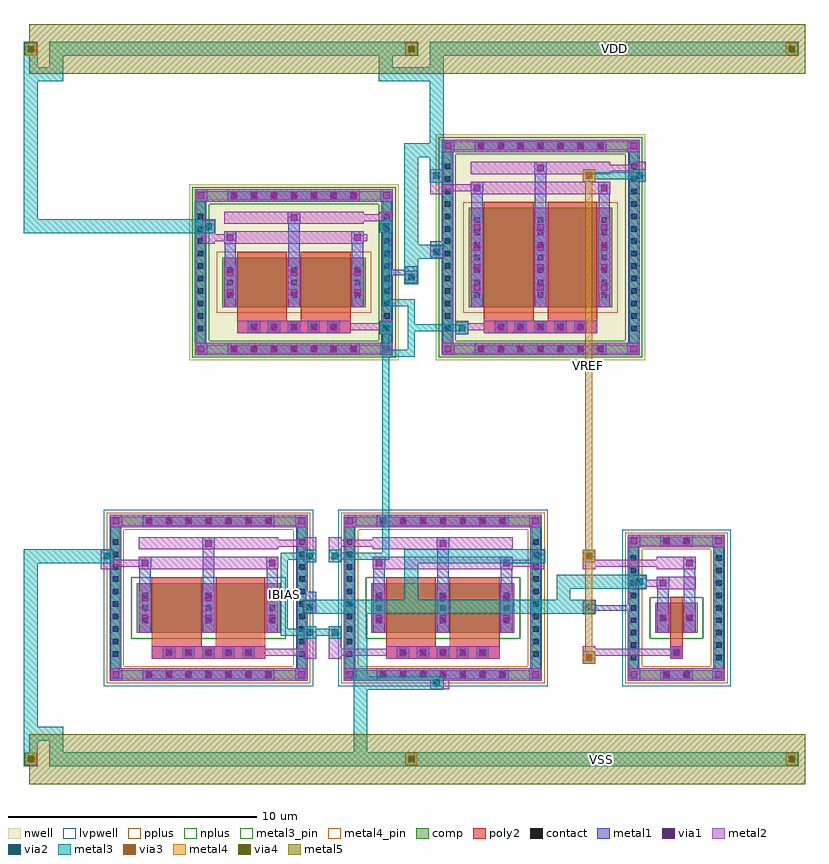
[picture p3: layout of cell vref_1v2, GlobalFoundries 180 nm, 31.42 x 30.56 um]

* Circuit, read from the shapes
.subckt vref_1v2 IBIAS VDD VREF VSS
XM1 IBIAS IBIAS VSS VSS nfet_03v3 w=2u l=2u m=2
XM2 n1 IBIAS VSS VSS nfet_03v3 w=2u l=2u m=2
XM3 VREF VREF VSS VSS nfet_03v3 w=1.2u l=0.5u
XM4 n1 n1 VDD VDD pfet_03v3 w=2u l=2u m=2
XM5 VREF n1 VDD VDD pfet_03v3 w=4u l=2u m=2
.ends

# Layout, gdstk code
import gdstk
lib = gdstk.Library(unit=1e-6, precision=1e-09)
def R(c, l, rs):  # rectangles x0, y0, x1, y1
    for r in rs: c.add(gdstk.rectangle(r[:2], r[2:], *l))
def A(c, l, x, y, w, h, nx, ny, dx, dy):  # array of equal rectangles
    R(c, l, [(x+i*dx, y+j*dy, x+i*dx+w, y+j*dy+h) for i in range(nx) for j in range(ny)])
def P(c, l, *ps):  # polygons
    for p in ps: c.add(gdstk.Polygon(p, *l))
nwell = (21, 0)
comp = (22, 0)
poly2 = (30, 0)
pplus = (31, 0)
nplus = (32, 0)
contact = (33, 0)
metal1 = (34, 0)
via1 = (35, 0)
metal2 = (36, 0)
via2 = (38, 0)
via3 = (40, 0)
via4 = (41, 0)
metal3 = (42, 0)
metal3_pin = (42, 10)
metal4 = (46, 0)
metal4_pin = (46, 10)
metal5 = (81, 0)
lvpwell = (204, 0)

vref_1v2 = lib.new_cell('vref_1v2')
R(vref_1v2, nwell, [(-9.17,13.09,-0.75,20.18), (0.75,13.09,9.17,22.18)])
A(vref_1v2, comp, -10.97, 0.28, 0.36, 0.36, 7, 2, 0.8, 6.17)
A(vref_1v2, comp, -1.55, 0.28, 0.36, 0.36, 7, 2, 0.8, 6.17)
A(vref_1v2, comp, 8.52, 0.965, 0.36, 0.36, 1, 9, 0, 0.5)
A(vref_1v2, comp, 11.96, 0.965, 0.36, 0.36, 1, 9, 0, 0.5)
A(vref_1v2, comp, -12.32, 1.115, 0.36, 0.36, 1, 10, 0, 0.5)
A(vref_1v2, comp, -4.82, 1.115, 0.36, 0.36, 1, 10, 0, 0.5)
A(vref_1v2, comp, -2.9, 1.115, 0.36, 0.36, 1, 10, 0, 0.5)
A(vref_1v2, comp, 4.6, 1.115, 0.36, 0.36, 1, 10, 0, 0.5)
A(vref_1v2, comp, -7.54, 13.37, 0.36, 0.36, 7, 2, 0.8, 6.17)
A(vref_1v2, comp, 2.38, 13.37, 0.36, 0.36, 7, 2, 0.8, 8.17)
A(vref_1v2, comp, -8.89, 14.205, 0.36, 0.36, 1, 10, 0, 0.5)
A(vref_1v2, comp, -1.39, 14.205, 0.36, 0.36, 1, 10, 0, 0.5)
A(vref_1v2, comp, 1.03, 14.205, 0.36, 0.36, 1, 14, 0, 0.5)
A(vref_1v2, comp, 8.53, 14.205, 0.36, 0.36, 1, 14, 0, 0.5)
R(vref_1v2, comp, [(-10.97,0.28,-5.81,0.64), (-1.55,0.28,3.61,0.64), (9.84,0.28,10.2,0.64), (9.84,0.28,11,0.64), (10.64,0.28,11,0.64), (8.52,0.965,8.88,5.325), (11.96,0.965,12.32,5.325), (-12.32,1.115,-11.96,5.975), (-4.82,1.115,-4.46,5.975), (-2.9,1.115,-2.54,5.975), (4.6,1.115,4.96,5.975), (-11.27,2.14,-5.51,4.14), (-1.85,2.14,3.91,4.14), (9.57,2.14,11.27,3.34), (9.84,5.65,10.2,6.01), (9.84,5.65,11,6.01), (10.64,5.65,11,6.01), (-10.97,6.45,-5.81,6.81), (-1.55,6.45,3.61,6.81), (-7.54,13.37,-2.38,13.73), (2.38,13.37,7.54,13.73), (-8.89,14.205,-8.53,19.065), (-1.39,14.205,-1.03,19.065), (1.03,14.205,1.39,21.065), (8.53,14.205,8.89,21.065), (-7.84,15.23,-2.08,17.23), (2.08,15.23,7.84,19.23), (-7.54,19.54,-2.38,19.9), (2.38,21.54,7.54,21.9)])
P(vref_1v2, comp, [(-12.32,0.28),(-12.32,0.64),(-4.82,0.64),(-4.82,6.45),(-11.96,6.45),(-11.96,0.64),(-12.32,0.64),(-12.32,6.81),(-4.46,6.81),(-4.46,0.28)],
  [(8.52,0.28),(8.52,0.64),(11.96,0.64),(11.96,5.65),(8.88,5.65),(8.88,0.64),(8.52,0.64),(8.52,6.01),(12.32,6.01),(12.32,0.28)],
  [(1.03,13.37),(1.03,13.73),(8.53,13.73),(8.53,21.54),(1.39,21.54),(1.39,13.73),(1.03,13.73),(1.03,21.9),(8.89,21.9),(8.89,13.37)],
  [(-8.89,13.37),(-8.89,13.73),(-1.39,13.73),(-1.39,19.54),(-8.53,19.54),(-8.53,13.73),(-8.89,13.73),(-8.89,19.9),(-1.03,19.9),(-1.03,13.37)],
  [(-2.9,0.28),(-2.9,0.64),(4.6,0.64),(4.6,6.45),(-2.54,6.45),(-2.54,0.64),(-2.9,0.64),(-2.9,6.81),(4.96,6.81),(4.96,0.28)])
A(vref_1v2, poly2, -10.17, 1.17, 0.36, 0.36, 5, 1, 0.8, 0)
A(vref_1v2, poly2, -0.75, 1.17, 0.36, 0.36, 5, 1, 0.8, 0)
A(vref_1v2, poly2, -6.74, 14.26, 0.36, 0.36, 5, 1, 0.8, 0)
A(vref_1v2, poly2, 3.18, 14.26, 0.36, 0.36, 5, 1, 0.8, 0)
R(vref_1v2, poly2, [(-10.67,1.1,-6.11,1.6), (-1.25,1.1,3.31,1.6), (10.17,1.1,10.67,1.6), (10.24,1.17,10.6,1.53), (-10.67,1.6,-8.67,1.9), (-8.11,1.6,-6.11,1.9), (-1.25,1.6,0.75,1.9), (1.31,1.6,3.31,1.9), (10.17,1.6,10.67,1.9), (-10.67,1.9,-8.67,4.38), (-8.11,1.9,-6.11,4.38), (-1.25,1.9,0.75,4.38), (1.31,1.9,3.31,4.38), (10.17,1.9,10.67,3.58), (-7.24,14.19,-2.68,14.69), (2.68,14.19,7.24,14.69), (-7.24,14.69,-5.24,14.99), (-4.68,14.69,-2.68,14.99), (2.68,14.69,4.68,14.99), (5.24,14.69,7.24,14.99), (-7.24,14.99,-5.24,17.47), (-4.68,14.99,-2.68,17.47), (2.68,14.99,4.68,19.47), (5.24,14.99,7.24,19.47)])
R(vref_1v2, pplus, [(-8.07,15,-1.85,17.46), (1.85,15,8.07,19.46)])
P(vref_1v2, pplus, [(-12.48,0.12),(-12.48,0.8),(-4.98,0.8),(-4.98,6.29),(-11.8,6.29),(-11.8,0.8),(-12.48,0.8),(-12.48,6.97),(-4.3,6.97),(-4.3,0.12)],
  [(8.36,0.12),(8.36,0.8),(11.8,0.8),(11.8,5.49),(9.04,5.49),(9.04,0.8),(8.36,0.8),(8.36,6.17),(12.48,6.17),(12.48,0.12)],
  [(-3.06,0.12),(-3.06,0.8),(4.44,0.8),(4.44,6.29),(-2.38,6.29),(-2.38,0.8),(-3.06,0.8),(-3.06,6.97),(5.12,6.97),(5.12,0.12)])
R(vref_1v2, nplus, [(-11.5,1.91,-5.28,4.37), (-2.08,1.91,4.14,4.37), (9.34,1.91,11.5,3.57)])
P(vref_1v2, nplus, [(0.87,13.21),(0.87,13.89),(8.37,13.89),(8.37,21.38),(1.55,21.38),(1.55,13.89),(0.87,13.89),(0.87,22.06),(9.05,22.06),(9.05,13.21)],
  [(-9.05,13.21),(-9.05,13.89),(-1.55,13.89),(-1.55,19.38),(-8.37,19.38),(-8.37,13.89),(-9.05,13.89),(-9.05,20.06),(-0.87,20.06),(-0.87,13.21)])
A(vref_1v2, contact, -10.9, 0.35, 0.22, 0.22, 7, 2, 0.8, 6.17)
A(vref_1v2, contact, -1.48, 0.35, 0.22, 0.22, 7, 2, 0.8, 6.17)
A(vref_1v2, contact, 8.59, 1.035, 0.22, 0.22, 1, 9, 0, 0.5)
A(vref_1v2, contact, 12.03, 1.035, 0.22, 0.22, 1, 9, 0, 0.5)
A(vref_1v2, contact, -12.25, 1.185, 0.22, 0.22, 1, 10, 0, 0.5)
A(vref_1v2, contact, -4.75, 1.185, 0.22, 0.22, 1, 10, 0, 0.5)
A(vref_1v2, contact, -2.83, 1.185, 0.22, 0.22, 1, 10, 0, 0.5)
A(vref_1v2, contact, 4.67, 1.185, 0.22, 0.22, 1, 10, 0, 0.5)
A(vref_1v2, contact, -10.1, 1.24, 0.22, 0.22, 5, 1, 0.8, 0)
A(vref_1v2, contact, -0.68, 1.24, 0.22, 0.22, 5, 1, 0.8, 0)
A(vref_1v2, contact, -11.06, 2.53, 0.22, 0.22, 3, 3, 2.56, 0.5)
A(vref_1v2, contact, -1.64, 2.53, 0.22, 0.22, 3, 3, 2.56, 0.5)
A(vref_1v2, contact, -7.47, 13.44, 0.22, 0.22, 7, 2, 0.8, 6.17)
A(vref_1v2, contact, 2.45, 13.44, 0.22, 0.22, 7, 2, 0.8, 8.17)
A(vref_1v2, contact, -8.82, 14.275, 0.22, 0.22, 1, 10, 0, 0.5)
A(vref_1v2, contact, -1.32, 14.275, 0.22, 0.22, 1, 10, 0, 0.5)
A(vref_1v2, contact, 1.1, 14.275, 0.22, 0.22, 1, 14, 0, 0.5)
A(vref_1v2, contact, 8.6, 14.275, 0.22, 0.22, 1, 14, 0, 0.5)
A(vref_1v2, contact, -6.67, 14.33, 0.22, 0.22, 5, 1, 0.8, 0)
A(vref_1v2, contact, 3.25, 14.33, 0.22, 0.22, 5, 1, 0.8, 0)
A(vref_1v2, contact, -7.63, 15.62, 0.22, 0.22, 3, 3, 2.56, 0.5)
A(vref_1v2, contact, 2.29, 15.62, 0.22, 0.22, 3, 7, 2.56, 0.5)
R(vref_1v2, contact, [(9.91,0.35,10.13,0.57), (10.71,0.35,10.93,0.57), (10.31,1.24,10.53,1.46), (9.78,2.63,10,2.85), (10.84,2.63,11.06,2.85), (9.91,5.72,10.13,5.94), (10.71,5.72,10.93,5.94)])
A(vref_1v2, metal1, -11.04, 0.21, 0.5, 0.5, 7, 2, 0.8, 6.17)
A(vref_1v2, metal1, -1.62, 0.21, 0.5, 0.5, 7, 2, 0.8, 6.17)
A(vref_1v2, metal1, 8.47, 0.915, 0.46, 0.46, 1, 9, 0, 0.5)
A(vref_1v2, metal1, 11.91, 0.915, 0.46, 0.46, 1, 9, 0, 0.5)
A(vref_1v2, metal1, -12.37, 1.065, 0.46, 0.46, 1, 10, 0, 0.5)
A(vref_1v2, metal1, -4.87, 1.065, 0.46, 0.46, 1, 10, 0, 0.5)
A(vref_1v2, metal1, -2.95, 1.065, 0.46, 0.46, 1, 10, 0, 0.5)
A(vref_1v2, metal1, 4.55, 1.065, 0.46, 0.46, 1, 10, 0, 0.5)
A(vref_1v2, metal1, -10.24, 1.1, 0.5, 0.5, 5, 1, 0.8, 0)
A(vref_1v2, metal1, -0.82, 1.1, 0.5, 0.5, 5, 1, 0.8, 0)
A(vref_1v2, metal1, -11.18, 2.14, 0.46, 2, 3, 1, 2.56, 0)
A(vref_1v2, metal1, -1.76, 2.14, 0.46, 2, 3, 1, 2.56, 0)
A(vref_1v2, metal1, -11.18, 2.41, 0.46, 0.46, 3, 3, 2.56, 0.5)
A(vref_1v2, metal1, -1.76, 2.41, 0.46, 0.46, 3, 3, 2.56, 0.5)
A(vref_1v2, metal1, -11.2, 2.49, 0.5, 0.5, 3, 2, 2.56, 0.8)
A(vref_1v2, metal1, -11.2, 2.49, 0.5, 1.3, 3, 1, 2.56, 0)
A(vref_1v2, metal1, -1.78, 2.49, 0.5, 0.5, 3, 2, 2.56, 0.8)
A(vref_1v2, metal1, -1.78, 2.49, 0.5, 1.3, 3, 1, 2.56, 0)
A(vref_1v2, metal1, -7.61, 13.3, 0.5, 0.5, 7, 2, 0.8, 6.17)
A(vref_1v2, metal1, 2.31, 13.3, 0.5, 0.5, 7, 2, 0.8, 8.17)
A(vref_1v2, metal1, -8.94, 14.155, 0.46, 0.46, 1, 10, 0, 0.5)
A(vref_1v2, metal1, -1.44, 14.155, 0.46, 0.46, 1, 10, 0, 0.5)
A(vref_1v2, metal1, 0.98, 14.155, 0.46, 0.46, 1, 14, 0, 0.5)
A(vref_1v2, metal1, 8.48, 14.155, 0.46, 0.46, 1, 14, 0, 0.5)
A(vref_1v2, metal1, -6.81, 14.19, 0.5, 0.5, 5, 1, 0.8, 0)
A(vref_1v2, metal1, 3.11, 14.19, 0.5, 0.5, 5, 1, 0.8, 0)
A(vref_1v2, metal1, -7.75, 15.23, 0.46, 2, 3, 1, 2.56, 0)
A(vref_1v2, metal1, 2.17, 15.23, 0.46, 4, 3, 1, 2.56, 0)
A(vref_1v2, metal1, -7.75, 15.5, 0.46, 0.46, 3, 3, 2.56, 0.5)
A(vref_1v2, metal1, 2.17, 15.5, 0.46, 0.46, 3, 7, 2.56, 0.5)
A(vref_1v2, metal1, -7.77, 15.58, 0.5, 0.5, 3, 2, 2.56, 0.8)
A(vref_1v2, metal1, -7.77, 15.58, 0.5, 1.3, 3, 1, 2.56, 0)
A(vref_1v2, metal1, 2.15, 15.78, 0.5, 0.5, 3, 4, 2.56, 0.8)
A(vref_1v2, metal1, 2.15, 15.78, 0.5, 2.9, 3, 1, 2.56, 0)
R(vref_1v2, metal1, [(-12.37,0.21,-11.87,0.71), (-12.37,0.21,-11.87,0.71), (-12.37,0.21,-11.91,0.64), (-11.04,0.21,-5.74,0.71), (-4.91,0.21,-4.41,0.71), (-4.91,0.21,-4.41,0.71), (-4.87,0.21,-4.41,0.64), (-2.95,0.21,-2.45,0.71), (-2.95,0.21,-2.45,0.71), (-2.95,0.21,-2.49,0.64), (-1.62,0.21,3.68,0.71), (4.51,0.21,5.01,0.71), (4.51,0.21,5.01,0.71), (4.55,0.21,5.01,0.64), (8.47,0.21,8.97,0.71), (8.47,0.21,8.97,0.71), (8.47,0.21,8.93,0.64), (9.77,0.21,10.27,0.71), (9.77,0.21,11.07,0.71), (10.57,0.21,11.07,0.71), (11.87,0.21,12.37,0.71), (11.87,0.21,12.37,0.71), (11.91,0.21,12.37,0.64), (-12.37,0.64,-11.91,6.45), (-4.87,0.64,-4.41,6.45), (-2.95,0.64,-2.49,6.45), (4.55,0.64,5.01,6.45), (8.47,0.64,8.93,5.65), (11.91,0.64,12.37,5.65), (10.17,1.1,10.67,1.6), (9.66,2.14,10.12,3.34), (10.72,2.14,11.18,3.34), (9.64,2.49,10.14,2.99), (9.64,2.49,10.14,2.99), (10.7,2.49,11.2,2.99), (10.7,2.49,11.2,2.99), (9.66,2.51,10.12,2.97), (10.72,2.51,11.18,2.97), (8.47,2.875,8.585,3.025), (6.65,2.89,7.15,3.43), (-4.57,2.93,-4.07,3.43), (-4.57,2.93,-4.07,3.79), (6.65,2.93,7.15,3.43), (6.785,3.025,8.585,3.255), (8.47,3.255,8.585,3.415), (9.66,3.34,10.12,4.39), (10.72,3.34,11.18,5.19), (-4.525,3.425,-4.205,3.655), (-4.57,3.79,-4.41,4.065), (9.64,3.89,10.14,4.39), (-11.18,4.14,-10.72,5.19), (-8.62,4.14,-8.16,5.99), (-6.06,4.14,-5.6,5.19), (-1.76,4.14,-1.3,5.19), (0.8,4.14,1.26,5.99), (3.36,4.14,3.82,5.19), (-11.2,4.69,-10.7,5.19), (-6.08,4.69,-5.58,5.19), (-1.78,4.69,-1.28,5.19), (3.34,4.69,3.84,5.19), (10.7,4.69,11.2,5.19), (-8.64,5.49,-8.14,5.99), (0.78,5.49,1.28,5.99), (8.47,5.58,8.97,6.08), (8.47,5.58,8.97,6.08), (9.77,5.58,10.27,6.08), (9.77,5.58,11.07,6.08), (10.57,5.58,11.07,6.08), (11.87,5.58,12.37,6.08), (11.87,5.58,12.37,6.08), (8.47,5.65,8.93,6.08), (11.91,5.65,12.37,6.08), (-12.37,6.38,-11.87,6.88), (-12.37,6.38,-11.87,6.88), (-11.04,6.38,-5.74,6.88), (-4.91,6.38,-4.41,6.88), (-4.91,6.38,-4.41,6.88), (-2.95,6.38,-2.45,6.88), (-2.95,6.38,-2.45,6.88), (-1.62,6.38,3.68,6.88), (4.51,6.38,5.01,6.88), (4.51,6.38,5.01,6.88), (-12.37,6.45,-11.91,6.88), (-4.87,6.45,-4.41,6.88), (-2.95,6.45,-2.49,6.88), (4.55,6.45,5.01,6.88), (-8.94,13.3,-8.44,13.8), (-8.94,13.3,-8.44,13.8), (-8.94,13.3,-8.48,13.73), (-7.61,13.3,-2.31,13.8), (-1.48,13.3,-0.98,13.8), (-1.48,13.3,-0.98,13.8), (-1.44,13.3,-0.98,13.73), (0.98,13.3,1.48,13.8), (0.98,13.3,1.48,13.8), (0.98,13.3,1.44,13.73), (2.31,13.3,7.61,13.8), (8.44,13.3,8.94,13.8), (8.44,13.3,8.94,13.8), (8.48,13.3,8.94,13.73), (-8.94,13.73,-8.48,19.54), (-1.44,13.73,-0.98,19.54), (0.98,13.73,1.44,21.54), (8.48,13.73,8.94,21.54), (-0.49,16.19,0.01,16.88), (-0.49,16.19,0.01,16.69), (-1.095,16.515,-0.125,16.745), (0.98,17.115,1.03,17.21), (0.53,17.21,1.03,17.71), (0.53,17.21,1.03,17.88), (-7.75,17.23,-7.29,18.28), (-5.19,17.23,-4.73,19.08), (-2.63,17.23,-2.17,18.28), (0.665,17.515,1.095,17.745), (-7.77,17.78,-7.27,18.28), (-2.65,17.78,-2.15,18.28), (0.98,17.88,1.03,18.155), (-5.21,18.58,-4.71,19.08), (2.17,19.23,2.63,20.28), (4.73,19.23,5.19,21.08), (7.29,19.23,7.75,20.28), (-8.94,19.47,-8.44,19.97), (-8.94,19.47,-8.44,19.97), (-7.61,19.47,-2.31,19.97), (-1.48,19.47,-0.98,19.97), (-1.48,19.47,-0.98,19.97), (-8.94,19.54,-8.48,19.97), (-1.44,19.54,-0.98,19.97), (2.15,19.78,2.65,20.28), (7.27,19.78,7.77,20.28), (4.71,20.58,5.21,21.08), (0.98,21.47,1.48,21.97), (0.98,21.47,1.48,21.97), (2.31,21.47,7.61,21.97), (8.44,21.47,8.94,21.97), (8.44,21.47,8.94,21.97), (0.98,21.54,1.44,21.97), (8.48,21.54,8.94,21.97)])
A(vref_1v2, via1, -10.92, 0.33, 0.26, 0.26, 7, 2, 0.8, 6.17)
A(vref_1v2, via1, -1.5, 0.33, 0.26, 0.26, 7, 2, 0.8, 6.17)
A(vref_1v2, via1, -10.12, 1.22, 0.26, 0.26, 5, 1, 0.8, 0)
A(vref_1v2, via1, -0.7, 1.22, 0.26, 0.26, 5, 1, 0.8, 0)
A(vref_1v2, via1, -11.08, 2.61, 0.26, 0.26, 3, 2, 2.56, 0.8)
A(vref_1v2, via1, -1.66, 2.61, 0.26, 0.26, 3, 2, 2.56, 0.8)
A(vref_1v2, via1, -7.49, 13.42, 0.26, 0.26, 7, 2, 0.8, 6.17)
A(vref_1v2, via1, 2.43, 13.42, 0.26, 0.26, 7, 2, 0.8, 8.17)
A(vref_1v2, via1, -6.69, 14.31, 0.26, 0.26, 5, 1, 0.8, 0)
A(vref_1v2, via1, 3.23, 14.31, 0.26, 0.26, 5, 1, 0.8, 0)
A(vref_1v2, via1, -7.65, 15.7, 0.26, 0.26, 3, 2, 2.56, 0.8)
A(vref_1v2, via1, 2.27, 15.9, 0.26, 0.26, 3, 4, 2.56, 0.8)
R(vref_1v2, via1, [(-12.25,0.33,-11.99,0.59), (-4.79,0.33,-4.53,0.59), (-2.83,0.33,-2.57,0.59), (4.63,0.33,4.89,0.59), (8.59,0.33,8.85,0.59), (9.89,0.33,10.15,0.59), (10.69,0.33,10.95,0.59), (11.99,0.33,12.25,0.59), (10.29,1.22,10.55,1.48), (9.76,2.61,10.02,2.87), (10.82,2.61,11.08,2.87), (-4.45,3.05,-4.19,3.31), (6.77,3.05,7.03,3.31), (9.76,4.01,10.02,4.27), (-11.08,4.81,-10.82,5.07), (-5.96,4.81,-5.7,5.07), (-1.66,4.81,-1.4,5.07), (3.46,4.81,3.72,5.07), (10.82,4.81,11.08,5.07), (-8.52,5.61,-8.26,5.87), (0.9,5.61,1.16,5.87), (8.59,5.7,8.85,5.96), (9.89,5.7,10.15,5.96), (10.69,5.7,10.95,5.96), (11.99,5.7,12.25,5.96), (-12.25,6.5,-11.99,6.76), (-4.79,6.5,-4.53,6.76), (-2.83,6.5,-2.57,6.76), (4.63,6.5,4.89,6.76), (-8.82,13.42,-8.56,13.68), (-1.36,13.42,-1.1,13.68), (1.1,13.42,1.36,13.68), (8.56,13.42,8.82,13.68), (-0.37,16.31,-0.11,16.57), (0.65,17.33,0.91,17.59), (-7.65,17.9,-7.39,18.16), (-2.53,17.9,-2.27,18.16), (-5.09,18.7,-4.83,18.96), (-8.82,19.59,-8.56,19.85), (-1.36,19.59,-1.1,19.85), (2.27,19.9,2.53,20.16), (7.39,19.9,7.65,20.16), (4.83,20.7,5.09,20.96), (1.1,21.59,1.36,21.85), (8.56,21.59,8.82,21.85)])
A(vref_1v2, metal2, -11.04, 0.21, 0.5, 0.5, 7, 2, 0.8, 6.17)
A(vref_1v2, metal2, -1.62, 0.21, 0.5, 0.5, 7, 2, 0.8, 6.17)
A(vref_1v2, metal2, 6.65, 0.89, 0.5, 0.5, 1, 3, 0, 2.04)
A(vref_1v2, metal2, -10.24, 1.1, 0.5, 0.5, 5, 1, 0.8, 0)
A(vref_1v2, metal2, -0.82, 1.1, 0.5, 0.5, 5, 1, 0.8, 0)
A(vref_1v2, metal2, -11.2, 2.14, 0.5, 2, 3, 1, 2.56, 0)
A(vref_1v2, metal2, -1.78, 2.14, 0.5, 2, 3, 1, 2.56, 0)
A(vref_1v2, metal2, -11.2, 2.49, 0.5, 0.5, 3, 2, 2.56, 0.8)
A(vref_1v2, metal2, -1.78, 2.49, 0.5, 0.5, 3, 2, 2.56, 0.8)
A(vref_1v2, metal2, -7.61, 13.3, 0.5, 0.5, 7, 2, 0.8, 6.17)
A(vref_1v2, metal2, 2.31, 13.3, 0.5, 0.5, 7, 2, 0.8, 8.17)
A(vref_1v2, metal2, -6.81, 14.19, 0.5, 0.5, 5, 1, 0.8, 0)
A(vref_1v2, metal2, 3.11, 14.19, 0.5, 0.5, 5, 1, 0.8, 0)
A(vref_1v2, metal2, -7.77, 15.23, 0.5, 2, 3, 1, 2.56, 0)
A(vref_1v2, metal2, 2.15, 15.23, 0.5, 4, 3, 1, 2.56, 0)
A(vref_1v2, metal2, -7.77, 15.58, 0.5, 0.5, 3, 2, 2.56, 0.8)
A(vref_1v2, metal2, 2.15, 15.78, 0.5, 0.5, 3, 4, 2.56, 0.8)
R(vref_1v2, metal2, [(0.53,-0.13,1.03,0.37), (0.53,-0.13,1.28,0.37), (0.89,-0.02,1.17,0.35), (-12.37,0.21,-11.87,0.71), (-12.37,0.21,-11.87,0.71), (-12.37,0.21,-11.96,0.71), (-11.96,0.21,-4.82,0.71), (-4.91,0.21,-4.41,0.71), (-4.91,0.21,-4.41,0.71), (-4.82,0.21,-4.41,0.71), (-2.95,0.21,-2.45,0.71), (-2.95,0.21,-2.45,0.71), (-2.95,0.21,-2.54,0.71), (-2.54,0.21,4.6,0.71), (0.48,0.21,0.53,0.37), (4.51,0.21,5.01,0.71), (4.51,0.21,5.01,0.71), (4.6,0.21,5.01,0.71), (8.47,0.21,8.97,0.71), (8.47,0.21,8.97,0.71), (8.47,0.21,8.88,0.71), (8.88,0.21,11.96,0.71), (9.77,0.21,10.27,0.71), (10.57,0.21,11.07,0.71), (11.87,0.21,12.37,0.71), (11.87,0.21,12.37,0.71), (11.96,0.21,12.37,0.71), (6.65,0.89,7.15,1.6), (-10.67,1.1,-6.11,1.6), (-4.57,1.1,-4.07,2.41), (-3.55,1.1,-3.05,2.41), (-1.25,1.1,3.31,1.6), (10.17,1.1,10.67,1.6), (10.17,1.1,10.67,1.6), (-6.54,1.21,-6.25,1.49), (-6.25,1.21,-4.18,1.49), (-3.44,1.21,-1.11,1.49), (-1.11,1.21,-0.82,1.49), (6.76,1.21,10.31,1.49), (-4.57,1.91,-4.07,2.41), (-3.55,1.91,-3.05,2.41), (9.64,2.14,10.14,3.34), (10.7,2.14,11.2,3.34), (9.64,2.49,10.14,2.99), (10.7,2.49,11.2,2.99), (-4.57,2.93,-4.07,3.43), (8.69,3.89,9.19,4.45), (9.64,3.89,10.14,4.39), (9.64,3.89,11.2,4.39), (8.69,3.95,9.19,4.45), (8.8,4,9.78,4.28), (-12.73,4.69,-12.23,5.47), (-11.2,4.69,-10.7,5.19), (-11.2,4.69,-5.58,5.19), (-6.08,4.69,-5.58,5.19), (-1.78,4.69,-1.28,5.19), (-1.78,4.69,3.84,5.19), (3.34,4.69,3.84,5.19), (4.61,4.69,5.11,5.47), (6.65,4.69,7.15,5.47), (9.64,4.69,11.2,5.19), (10.7,4.69,11.2,5.19), (-12.62,4.8,-11.06,5.08), (3.7,4.8,5,5.08), (6.76,4.8,9.78,5.08), (-12.73,4.97,-12.23,5.47), (-4.57,4.97,-4.07,5.47), (-4.57,4.97,-4.07,5.99), (-3.55,4.97,-3.05,5.47), (-3.55,4.97,-3.05,5.99), (4.61,4.97,5.11,5.47), (-11.2,5.49,-5.58,5.99), (-8.64,5.49,-8.14,5.99), (-1.78,5.49,3.84,5.99), (0.78,5.49,1.28,5.99), (8.47,5.58,8.97,6.08), (8.47,5.58,8.97,6.08), (8.47,5.58,8.88,6.08), (8.88,5.58,11.96,6.08), (9.77,5.58,10.27,6.08), (10.57,5.58,11.07,6.08), (11.87,5.58,12.37,6.08), (11.87,5.58,12.37,6.08), (11.96,5.58,12.37,6.08), (-5.72,5.6,-4.18,5.88), (-3.44,5.6,-1.64,5.88), (-12.37,6.38,-11.87,6.88), (-12.37,6.38,-11.87,6.88), (-12.37,6.38,-11.96,6.88), (-11.96,6.38,-4.82,6.88), (-4.91,6.38,-4.41,6.88), (-4.91,6.38,-4.41,6.88), (-4.82,6.38,-4.41,6.88), (-2.95,6.38,-2.45,6.88), (-2.95,6.38,-2.45,6.88), (-2.95,6.38,-2.54,6.88), (-2.54,6.38,4.6,6.88), (4.51,6.38,5.01,6.88), (4.51,6.38,5.01,6.88), (4.6,6.38,5.01,6.88), (-8.94,13.3,-8.44,13.8), (-8.94,13.3,-8.44,13.8), (-8.94,13.3,-8.53,13.8), (-8.53,13.3,-1.39,13.8), (-1.48,13.3,-0.98,13.8), (-1.48,13.3,-0.98,13.8), (-1.39,13.3,-0.98,13.8), (0.98,13.3,1.48,13.8), (0.98,13.3,1.48,13.8), (0.98,13.3,1.39,13.8), (1.39,13.3,8.53,13.8), (8.44,13.3,8.94,13.8), (8.44,13.3,8.94,13.8), (8.53,13.3,8.94,13.8), (-1.51,14.15,-1.01,14.65), (-1.51,14.15,-1.01,14.69), (1.55,14.15,2.05,14.65), (1.55,14.15,2.05,14.69), (-7.24,14.19,-2.68,14.69), (2.68,14.19,7.24,14.69), (-3.11,14.3,-2.82,14.58), (-2.82,14.3,-1.12,14.58), (1.66,14.3,2.82,14.58), (2.82,14.3,3.11,14.58), (-0.49,16.19,0.01,16.69), (0.53,17.21,1.03,17.71), (-8.65,17.78,-8.15,18.73), (-7.77,17.78,-7.27,18.28), (-7.77,17.78,-2.15,18.28), (-2.65,17.78,-2.15,18.28), (-8.54,17.89,-2.01,18.17), (-8.65,18.23,-8.15,18.73), (-1.51,18.23,-1.01,18.73), (-1.51,18.23,-1.01,19.08), (-7.77,18.58,-2.15,19.08), (-5.21,18.58,-4.71,19.08), (-2.29,18.69,-1.12,18.97), (-8.94,19.47,-8.44,19.97), (-8.94,19.47,-8.44,19.97), (-8.94,19.47,-8.53,19.97), (-8.53,19.47,-1.39,19.97), (-1.48,19.47,-0.98,19.97), (-1.48,19.47,-0.98,19.97), (-1.39,19.47,-0.98,19.97), (0.53,19.78,1.03,20.77), (2.15,19.78,2.65,20.28), (2.15,19.78,7.77,20.28), (7.27,19.78,7.77,20.28), (0.64,19.89,2.29,20.17), (0.53,20.27,1.03,20.77), (8.69,20.27,9.19,20.77), (8.69,20.27,9.19,21.08), (2.15,20.58,7.77,21.08), (4.71,20.58,5.21,21.08), (7.63,20.69,9.08,20.97), (0.98,21.47,1.48,21.97), (0.98,21.47,1.48,21.97), (0.98,21.47,1.39,21.97), (1.39,21.47,8.53,21.97), (8.44,21.47,8.94,21.97), (8.44,21.47,8.94,21.97), (8.53,21.47,8.94,21.97)])
A(vref_1v2, via2, 6.77, 1.01, 0.26, 0.26, 1, 3, 0, 2.04)
R(vref_1v2, via2, [(0.65,-0.01,0.91,0.25), (-4.45,2.03,-4.19,2.29), (-3.43,2.03,-3.17,2.29), (-4.45,3.05,-4.19,3.31), (8.81,4.07,9.07,4.33), (-12.61,5.09,-12.35,5.35), (-4.45,5.09,-4.19,5.35), (-3.43,5.09,-3.17,5.35), (4.73,5.09,4.99,5.35), (-1.39,14.27,-1.13,14.53), (1.67,14.27,1.93,14.53), (-0.37,16.31,-0.11,16.57), (0.65,17.33,0.91,17.59), (-8.53,18.35,-8.27,18.61), (-1.39,18.35,-1.13,18.61), (0.65,20.39,0.91,20.65), (8.81,20.39,9.07,20.65)])
A(vref_1v2, via3, -15.67, -3.07, 0.26, 0.26, 3, 2, 15.3, 28.56)
R(vref_1v2, via3, [(6.77,1.01,7.03,1.27), (6.77,5.09,7.03,5.35), (6.77,20.39,7.03,20.65)])
A(vref_1v2, via4, -15.67, -3.07, 0.26, 0.26, 3, 2, 15.3, 28.56)
A(vref_1v2, metal3, -15.79, -3.19, 0.5, 0.5, 3, 2, 15.3, 28.56)
A(vref_1v2, metal3, 6.65, 0.89, 0.5, 0.5, 1, 3, 0, 2.04)
R(vref_1v2, metal3, [(-15.82,-3.22,-15.26,5.5), (-14.8,-3.22,0.04,-2.66), (-14.8,-3.22,-14.24,-1.64), (-2.56,-3.22,-2,3.46), (-0.52,-3.22,15.34,-2.66), (-15.82,-2.2,-14.24,-1.64), (-2.56,-0.16,1.06,0.4), (0.53,-0.13,1.03,0.37), (6.65,0.89,7.15,1.39), (-4.57,1.91,-4.07,2.41), (-3.55,1.91,-3.05,2.41), (-5.48,2.02,-4.18,2.3), (-5.48,2.02,-5.2,5.36), (-4.46,2.02,-3.16,2.3), (-4.6,2.9,-2,3.46), (-2.56,2.9,0.04,3.46), (-0.52,2.9,0.04,5.5), (-0.52,2.9,7.18,3.46), (5.6,2.9,6.16,4.48), (-4.57,2.93,-4.07,3.43), (5.6,3.92,9.22,4.48), (8.69,3.95,9.19,4.45), (-15.82,4.94,-12.2,5.5), (-0.52,4.94,5.14,5.5), (-12.73,4.97,-12.23,5.47), (-4.57,4.97,-4.07,5.47), (-3.55,4.97,-3.05,5.47), (4.61,4.97,5.11,5.47), (6.65,4.97,7.15,5.47), (-5.48,5.08,-4.18,5.36), (-3.44,5.08,-1.12,5.36), (-1.4,5.08,-1.12,14.54), (-1.4,13.24,-0.1,13.52), (-0.38,13.24,-0.1,14.54), (-1.51,14.15,-1.01,14.65), (1.55,14.15,2.05,14.65), (-0.38,14.26,1.94,14.54), (-0.38,14.26,-0.1,15.56), (-1.4,15.28,-0.1,15.56), (-1.4,15.28,-1.12,18.62), (-0.52,16.16,0.04,21.82), (-0.49,16.19,0.01,16.69), (-0.52,17.18,1.06,17.74), (0.53,17.21,1.03,17.71), (-15.82,18.2,-8.12,18.76), (-15.82,18.2,-15.26,25.9), (-8.65,18.23,-8.15,18.73), (-1.51,18.23,-1.01,18.73), (0.5,20.24,1.06,24.88), (0.53,20.27,1.03,20.77), (6.65,20.27,7.15,20.77), (8.69,20.27,9.19,20.77), (6.76,20.38,9.08,20.66), (-0.52,21.26,1.06,21.82), (-15.82,24.32,-14.24,24.88), (-14.8,24.32,-14.24,25.9), (-1.54,24.32,-0.98,25.9), (-1.54,24.32,1.06,24.88), (0.5,24.32,1.06,25.9), (-14.8,25.34,0.04,25.9), (0.5,25.34,15.34,25.9)])
R(vref_1v2, metal3_pin, [(7.13,-3.22,7.69,-2.66), (-5.48,3.55,-5.2,3.83), (7.64,25.34,8.2,25.9)])
A(vref_1v2, metal4, -15.79, -3.19, 0.5, 0.5, 3, 2, 15.3, 28.56)
R(vref_1v2, metal4, [(6.65,0.89,7.15,1.39), (6.76,1,7.04,5.36), (6.65,4.97,7.15,5.47), (6.76,5.08,7.04,20.66), (6.65,20.27,7.15,20.77)])
R(vref_1v2, metal4_pin, [(6.76,12.73,7.04,13.01)])
A(vref_1v2, metal5, -15.79, -3.19, 0.5, 0.5, 3, 2, 15.3, 28.56)
R(vref_1v2, metal5, [(-15.6,-3.94,15.6,-1.94), (-15.6,24.62,15.6,26.62)])
R(vref_1v2, lvpwell, [(-12.6,0,-4.18,7.09), (-3.18,0,5.24,7.09), (8.24,0,12.6,6.29)])
vref_1v2.add(gdstk.Label('VREF', (6.9,12.87), layer=46, texttype=10))
vref_1v2.add(gdstk.Label('IBIAS', (-5.34,3.69), layer=42, texttype=10))
vref_1v2.add(gdstk.Label('VSS', (7.41,-2.94), layer=42, texttype=10))
vref_1v2.add(gdstk.Label('VDD', (7.92,25.62), layer=42, texttype=10))

lib.write_gds('vref_1v2.gds')
